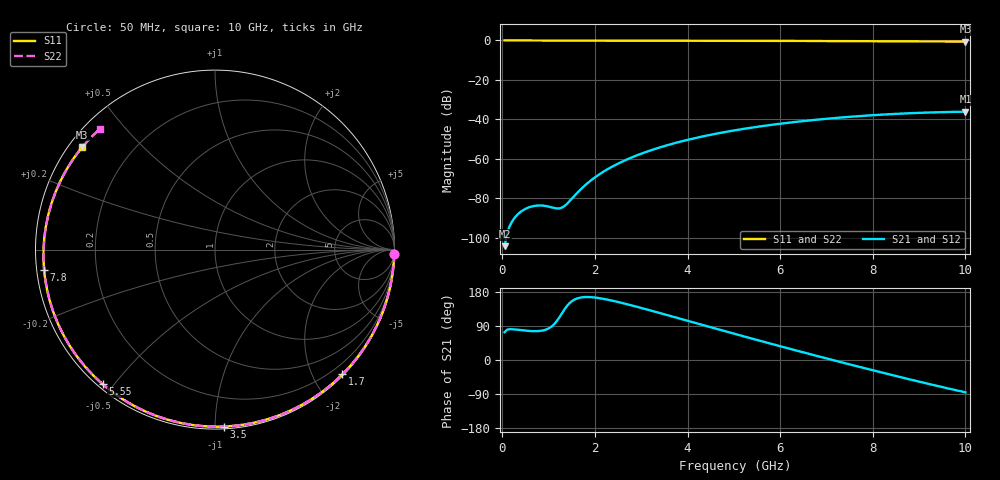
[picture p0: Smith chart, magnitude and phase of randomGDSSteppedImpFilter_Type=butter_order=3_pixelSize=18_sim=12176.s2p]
! freq	dB(S11)	phase(S11)	dB(S12)	phase(S12)
!  dB(S21)	phase(S21)	dB(S22)	phase(S22)
!S-par simulation data
#  GHz  S  DB  R 50
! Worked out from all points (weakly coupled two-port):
!   200 points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, 50 MHz to 10 GHz, reference 50 ohm
!   highest |S21| = -36.10 dB at 10 GHz (marker M1); lowest = -104.2 dB at 50 MHz (marker M2)
!   lowest |S11| = -0.6 dB at 10 GHz (marker M3), VSWR 29.72, Z = 1.88 + j17 ohm
!   |S11| at or under -10 dB: nowhere
!   |S22| runs from -0.6 to 0.0 dB; largest |S21 - S12| = 0
!   S11 on the Smith chart (normalised r, x): 50 MHz: 1, -88; 1.7 GHz: 0.02, -2.45; 3.5 GHz: 0.01, -1.05; 5.55 GHz: 0.01, -0.47; 7.8 GHz: 0.02, -0.06; 10 GHz: 0.04, +0.34
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0.05  -0.00 -1.3  -104.24 73.2  -104.24 73.2  -0.00 -1.3
0.4  -0.02 -10.6  -86.78 78.9  -86.78 78.9  -0.02 -10.4
0.75  -0.03 -19.9  -83.67 76.1  -83.67 76.1  -0.03 -19.5
1.5  -0.05 -39.3  -80.22 154.9  -80.22 154.9  -0.05 -38.5
1.7  -0.06 -44.4  -75.28 165.0  -75.28 165.0  -0.06 -43.5
1.75  -0.06 -45.6  -74.17 165.8  -74.17 165.8  -0.06 -44.8
2.05  -0.07 -53.1  -68.56 164.1  -68.56 164.1  -0.07 -52.1
2.45  -0.08 -62.8  -63.00 154.5  -63.00 154.5  -0.08 -61.8
2.9  -0.09 -73.4  -58.28 140.6  -58.28 140.6  -0.09 -72.4
3.4  -0.11 -84.9  -54.21 124.0  -54.21 124.0  -0.11 -83.8
3.5  -0.11 -87.1  -53.51 120.6  -53.51 120.6  -0.11 -86.1
4.25  -0.14 -103.4  -49.03 95.0  -49.03 95.0  -0.14 -102.6
5.05  -0.18 -119.9  -45.42 67.9  -45.42 67.9  -0.18 -119.6
5.55  -0.20 -129.9  -43.60 51.2  -43.60 51.2  -0.21 -129.9
6.15  -0.24 -141.6  -41.77 31.5  -41.77 31.5  -0.25 -142.2
6.7  -0.28 -152.2  -40.36 13.7  -40.36 13.7  -0.29 -153.5
7.25  -0.32 -162.7  -39.17 -3.7  -39.17 -3.7  -0.33 -164.8
7.8  -0.37 -173.3  -38.18 -20.9  -38.18 -20.9  -0.39 -176.3
8.35  -0.42 176.0  -37.39 -37.7  -37.39 -37.7  -0.44 171.9
8.8  -0.46 167.1  -36.87 -51.2  -36.87 -51.2  -0.49 162.0
9.2  -0.50 159.1  -36.52 -62.9  -36.52 -62.9  -0.54 152.8
10  -0.58 142.3  -36.10 -85.3  -36.10 -85.3  -0.64 133.6
